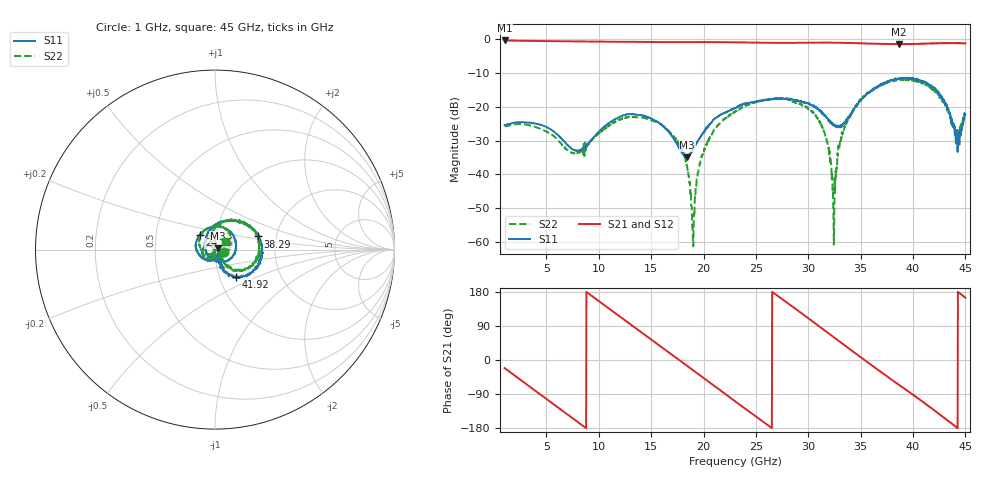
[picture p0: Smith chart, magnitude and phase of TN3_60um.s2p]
!Keysight Technologies,N5247B,MY61255062,A.19.80.06
!Date: Thursday, May 21, 2026 11:31:58
!Correction: S11(Cdelta 2-Port  )
!S21(Cdelta 2-Port  )
!S12(Cdelta 2-Port  )
!S22(Cdelta 2-Port  )
!S2P File: Measurements: S11, S21, S12, S22:
# Hz S  dB  R 50
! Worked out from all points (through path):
!   1601 points, 1 GHz to 45 GHz, reference 50 ohm
!   highest |S21| = -0.49 dB at 1 GHz (marker M1); lowest = -1.6 dB at 38.62 GHz (marker M2)
!   group delay of S21, straight-line fit = 56.3 ps
!   lowest |S11| = -34.9 dB at 18.43 GHz (marker M3), VSWR 1.04, Z = 51.7 + j0.673 ohm
!   |S11| at or under -10 dB: start of sweep to end of sweep
!   |S22| runs from -61.1 to -12.0 dB; largest |S21 - S12| = 0.013
!   S11 on the Smith chart (normalised r, x): 1 GHz: 1.11, -0.03; 24.95 GHz: 0.83, +0.14; 38.29 GHz: 1.61, +0.25; 41.92 GHz: 1.20, -0.38; 45 GHz: 1.13, +0.09
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1e9  -25.42 -16.8  -0.49 -21.3  -0.49 -21.3  -25.65 -16.8
4.575e9  -25.48 -98.9  -0.68 -94.3  -0.68 -94.3  -26.77 -97.9
8.3425e9  -32.66 -101.1  -0.79 -171.0  -0.79 -171.0  -33.11 -99.2
1.233e10  -22.58 -128.0  -0.89 108.2  -0.90 108.2  -23.50 -136.9
1.5685e10  -24.63 157.9  -0.97 40.0  -0.97 40.0  -24.82 153.0
1.8435e10  -34.94 21.3  -0.99 -15.4  -0.99 -15.5  -37.61 98.6
1.90125e10  -32.37 -28.0  -0.98 -27.1  -0.98 -27.2  -61.13 -120.5
2.01125e10  -26.90 -81.0  -0.97 -49.6  -0.98 -49.7  -32.68 -126.5
2.3e10  -20.48 -166.4  -1.05 -108.8  -1.05 -108.8  -21.58 171.3
2.49525e10  -18.55 136.8  -1.16 -148.1  -1.16 -148.2  -18.63 128.1
2.7455e10  -17.66 63.8  -1.21 161.7  -1.23 161.7  -17.55 71.9
3.03425e10  -19.53 -22.0  -1.14 103.1  -1.14 103.2  -21.40 6.5
3.1745e10  -23.27 -75.0  -1.12 74.3  -1.13 74.3  -29.52 -28.2
3.24325e10  -25.54 -117.3  -1.15 60.2  -1.14 60.0  -60.68 178.4
3.301e10  -26.12 -159.2  -1.16 48.0  -1.18 48.2  -30.95 132.6
3.3835e10  -23.35 143.9  -1.20 31.2  -1.24 31.1  -23.40 115.0
3.7685e10  -12.52 29.6  -1.54 -46.3  -1.52 -46.4  -12.50 35.0
3.829e10  -11.98 16.9  -1.54 -58.2  -1.59 -58.2  -12.31 23.3
3.862e10  -11.74 9.9  -1.63 -64.6  -1.62 -64.7  -12.24 17.4
4.192e10  -14.39 -52.9  -1.36 -130.9  -1.38 -130.8  -15.14 -39.5
4.42025e10  -30.70 -24.4  -1.23 -178.5  -1.31 -178.1  -28.84 -7.2
4.5e10  -22.44 32.6  -1.34 164.2  -1.35 164.5  -22.78 38.9
